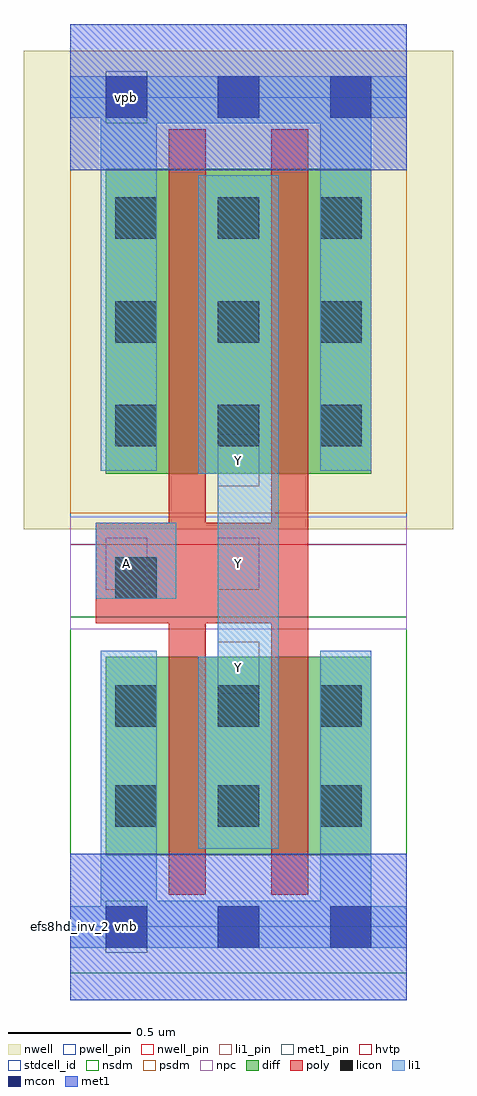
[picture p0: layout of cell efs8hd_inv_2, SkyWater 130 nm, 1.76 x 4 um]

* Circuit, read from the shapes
.subckt efs8hd_inv_2 A Y vgnd vnb vpb vpwr
XM1 Y A vgnd vnb sky130_fd_pr__nfet_01v8 w=0.812 l=0.15 m=2
XM2 Y A vpwr vpb sky130_fd_pr__pfet_01v8_hvt w=1.25 l=0.15 m=2
.ends

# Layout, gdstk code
import gdstk
lib = gdstk.Library(unit=1e-6, precision=1e-09)
def R(c, l, rs):  # rectangles x0, y0, x1, y1
    for r in rs: c.add(gdstk.rectangle(r[:2], r[2:], *l))
def A(c, l, x, y, w, h, nx, ny, dx, dy):  # array of equal rectangles
    R(c, l, [(x+i*dx, y+j*dy, x+i*dx+w, y+j*dy+h) for i in range(nx) for j in range(ny)])
def P(c, l, *ps):  # polygons
    for p in ps: c.add(gdstk.Polygon(p, *l))
nwell_pin = (64, 16)
nwell = (64, 20)
diff = (65, 20)
poly = (66, 20)
licon = (66, 44)
li1_pin = (67, 16)
li1 = (67, 20)
mcon = (67, 44)
met1_pin = (68, 16)
met1 = (68, 20)
hvtp = (78, 44)
stdcell_id = (81, 4)
nsdm = (93, 44)
psdm = (94, 20)
npc = (95, 20)
pwell_pin = (122, 16)

efs8hd_inv_2 = lib.new_cell('efs8hd_inv_2')
R(efs8hd_inv_2, nwell_pin, [(0.145,3.294,0.315,3.506)])
R(efs8hd_inv_2, nwell, [(-0.19,1.63,1.57,3.59)])
R(efs8hd_inv_2, diff, [(0.145,0.294,1.235,1.106), (0.145,1.856,1.235,3.106)])
P(efs8hd_inv_2, poly, [(0.825,3.269),(0.825,1.656),(0.555,1.656),(0.555,3.269),(0.405,3.269),(0.405,1.656),(0.105,1.656),(0.105,1.244),(0.405,1.244),(0.405,0.131),(0.555,0.131),(0.555,1.244),(0.825,1.244),(0.825,0.131),(0.975,0.131),(0.975,3.269)])
A(efs8hd_inv_2, licon, 0.185, 0.411, 0.17, 0.17, 3, 2, 0.42, 0.408)
A(efs8hd_inv_2, licon, 0.185, 1.969, 0.17, 0.17, 3, 3, 0.42, 0.425)
R(efs8hd_inv_2, licon, [(0.185,1.344,0.355,1.514)])
A(efs8hd_inv_2, li1_pin, 0.605, 0.956, 0.17, 0.213, 1, 3, 0, 0.425)
R(efs8hd_inv_2, li1_pin, [(0.145,1.381,0.315,1.594)])
R(efs8hd_inv_2, li1, [(0.105,1.344,0.435,1.656)])
P(efs8hd_inv_2, li1, [(1.025,1.131),(1.025,0.106),(0.355,0.106),(0.355,1.131),(0.125,1.131),(0.125,0.085),(0,0.085),(0,-0.085),(1.38,-0.085),(1.38,0.085),(1.235,0.085),(1.235,1.131)],
  [(0.525,3.081),(0.525,1.856),(0.605,1.856),(0.605,1.106),(0.525,1.106),(0.525,0.319),(0.855,0.319),(0.855,3.081)],
  [(0,3.485),(0,3.315),(0.125,3.315),(0.125,1.869),(0.355,1.869),(0.355,3.294),(1.025,3.294),(1.025,1.869),(1.235,1.869),(1.235,3.315),(1.38,3.315),(1.38,3.485)])
R(efs8hd_inv_2, mcon, [(0.145,-0.085,0.315,0.085), (0.145,-0.085,0.315,0.085), (0.145,-0.085,0.315,0.085), (0.145,-0.085,0.315,0.085), (0.145,-0.085,0.315,0.085), (0.145,-0.085,0.315,0.085), (0.145,-0.085,0.315,0.085), (0.145,-0.085,0.315,0.085), (0.145,-0.085,0.315,0.085), (0.145,-0.085,0.315,0.085), (0.145,-0.085,0.315,0.085), (0.145,-0.085,0.315,0.085), (0.145,-0.085,0.315,0.085), (0.145,-0.085,0.315,0.085), (0.145,-0.085,0.315,0.085), (0.145,-0.085,0.315,0.085), (0.145,-0.085,0.315,0.085), (0.145,-0.085,0.315,0.085), (0.145,-0.085,0.315,0.085), (0.145,-0.085,0.315,0.085), (0.145,-0.085,0.315,0.085), (0.145,-0.085,0.315,0.085), (0.145,-0.085,0.315,0.085), (0.145,-0.085,0.315,0.085), (0.145,-0.085,0.315,0.085), (0.145,-0.085,0.315,0.085), (0.145,-0.085,0.315,0.085), (0.145,-0.085,0.315,0.085), (0.145,-0.085,0.315,0.085), (0.145,-0.085,0.315,0.085), (0.145,-0.085,0.315,0.085), (0.145,-0.085,0.315,0.085), (0.145,-0.085,0.315,0.085), (0.145,-0.085,0.315,0.085), (0.145,-0.085,0.315,0.085), (0.145,-0.085,0.315,0.085), (0.145,-0.085,0.315,0.085), (0.145,-0.085,0.315,0.085), (0.145,-0.085,0.315,0.085), (0.145,-0.085,0.315,0.085), (0.145,-0.085,0.315,0.085), (0.145,-0.085,0.315,0.085), (0.145,-0.085,0.315,0.085), (0.145,-0.085,0.315,0.085), (0.145,-0.085,0.315,0.085), (0.145,-0.085,0.315,0.085), (0.145,-0.085,0.315,0.085), (0.145,-0.085,0.315,0.085), (0.145,-0.085,0.315,0.085), (0.145,-0.085,0.315,0.085), (0.145,-0.085,0.315,0.085), (0.145,-0.085,0.315,0.085), (0.145,-0.085,0.315,0.085), (0.145,-0.085,0.315,0.085), (0.145,-0.085,0.315,0.085), (0.145,-0.085,0.315,0.085), (0.145,-0.085,0.315,0.085), (0.145,-0.085,0.315,0.085), (0.145,-0.085,0.315,0.085), (0.145,-0.085,0.315,0.085), (0.145,-0.085,0.315,0.085), (0.145,-0.085,0.315,0.085), (0.145,-0.085,0.315,0.085), (0.145,-0.085,0.315,0.085), (0.145,-0.085,0.315,0.085), (0.145,-0.085,0.315,0.085), (0.145,-0.085,0.315,0.085), (0.145,-0.085,0.315,0.085), (0.145,-0.085,0.315,0.085), (0.145,-0.085,0.315,0.085), (0.145,-0.085,0.315,0.085), (0.145,-0.085,0.315,0.085), (0.145,-0.085,0.315,0.085), (0.145,-0.085,0.315,0.085), (0.145,-0.085,0.315,0.085), (0.145,-0.085,0.315,0.085), (0.145,-0.085,0.315,0.085), (0.145,-0.085,0.315,0.085), (0.145,-0.085,0.315,0.085), (0.145,-0.085,0.315,0.085), (0.145,-0.085,0.315,0.085), (0.145,-0.085,0.315,0.085), (0.145,-0.085,0.315,0.085), (0.145,-0.085,0.315,0.085), (0.145,-0.085,0.315,0.085), (0.145,-0.085,0.315,0.085), (0.145,-0.085,0.315,0.085), (0.145,-0.085,0.315,0.085), (0.145,-0.085,0.315,0.085), (0.145,-0.085,0.315,0.085), (0.145,-0.085,0.315,0.085), (0.145,-0.085,0.315,0.085), (0.145,-0.085,0.315,0.085), (0.145,-0.085,0.315,0.085), (0.145,-0.085,0.315,0.085), (0.145,-0.085,0.315,0.085), (0.145,-0.085,0.315,0.085), (0.145,-0.085,0.315,0.085), (0.145,-0.085,0.315,0.085), (0.145,-0.085,0.315,0.085), (0.145,-0.085,0.315,0.085), (0.145,-0.085,0.315,0.085), (0.145,-0.085,0.315,0.085), (0.145,-0.085,0.315,0.085), (0.145,-0.085,0.315,0.085), (0.145,-0.085,0.315,0.085), (0.145,-0.085,0.315,0.085), (0.145,-0.085,0.315,0.085), (0.145,-0.085,0.315,0.085), (0.605,-0.085,0.775,0.085), (0.605,-0.085,0.775,0.085), (0.605,-0.085,0.775,0.085), (0.605,-0.085,0.775,0.085), (0.605,-0.085,0.775,0.085), (0.605,-0.085,0.775,0.085), (0.605,-0.085,0.775,0.085), (0.605,-0.085,0.775,0.085), (0.605,-0.085,0.775,0.085), (0.605,-0.085,0.775,0.085), (0.605,-0.085,0.775,0.085), (0.605,-0.085,0.775,0.085), (0.605,-0.085,0.775,0.085), (0.605,-0.085,0.775,0.085), (0.605,-0.085,0.775,0.085), (0.605,-0.085,0.775,0.085), (0.605,-0.085,0.775,0.085), (0.605,-0.085,0.775,0.085), (0.605,-0.085,0.775,0.085), (0.605,-0.085,0.775,0.085), (0.605,-0.085,0.775,0.085), (0.605,-0.085,0.775,0.085), (0.605,-0.085,0.775,0.085), (0.605,-0.085,0.775,0.085), (0.605,-0.085,0.775,0.085), (0.605,-0.085,0.775,0.085), (0.605,-0.085,0.775,0.085), (0.605,-0.085,0.775,0.085), (0.605,-0.085,0.775,0.085), (0.605,-0.085,0.775,0.085), (0.605,-0.085,0.775,0.085), (0.605,-0.085,0.775,0.085), (0.605,-0.085,0.775,0.085), (0.605,-0.085,0.775,0.085), (0.605,-0.085,0.775,0.085), (0.605,-0.085,0.775,0.085), (0.605,-0.085,0.775,0.085), (0.605,-0.085,0.775,0.085), (0.605,-0.085,0.775,0.085), (0.605,-0.085,0.775,0.085), (0.605,-0.085,0.775,0.085), (0.605,-0.085,0.775,0.085), (0.605,-0.085,0.775,0.085), (0.605,-0.085,0.775,0.085), (0.605,-0.085,0.775,0.085), (0.605,-0.085,0.775,0.085), (0.605,-0.085,0.775,0.085), (0.605,-0.085,0.775,0.085), (0.605,-0.085,0.775,0.085), (0.605,-0.085,0.775,0.085), (0.605,-0.085,0.775,0.085), (0.605,-0.085,0.775,0.085), (0.605,-0.085,0.775,0.085), (0.605,-0.085,0.775,0.085), (0.605,-0.085,0.775,0.085), (0.605,-0.085,0.775,0.085), (0.605,-0.085,0.775,0.085), (0.605,-0.085,0.775,0.085), (0.605,-0.085,0.775,0.085), (0.605,-0.085,0.775,0.085), (0.605,-0.085,0.775,0.085), (0.605,-0.085,0.775,0.085), (0.605,-0.085,0.775,0.085), (0.605,-0.085,0.775,0.085), (0.605,-0.085,0.775,0.085), (0.605,-0.085,0.775,0.085), (0.605,-0.085,0.775,0.085), (0.605,-0.085,0.775,0.085), (0.605,-0.085,0.775,0.085), (0.605,-0.085,0.775,0.085), (0.605,-0.085,0.775,0.085), (0.605,-0.085,0.775,0.085), (0.605,-0.085,0.775,0.085), (0.605,-0.085,0.775,0.085), (0.605,-0.085,0.775,0.085), (0.605,-0.085,0.775,0.085), (0.605,-0.085,0.775,0.085), (0.605,-0.085,0.775,0.085), (0.605,-0.085,0.775,0.085), (0.605,-0.085,0.775,0.085), (0.605,-0.085,0.775,0.085), (0.605,-0.085,0.775,0.085), (0.605,-0.085,0.775,0.085), (0.605,-0.085,0.775,0.085), (0.605,-0.085,0.775,0.085), (0.605,-0.085,0.775,0.085), (0.605,-0.085,0.775,0.085), (0.605,-0.085,0.775,0.085), (0.605,-0.085,0.775,0.085), (0.605,-0.085,0.775,0.085), (0.605,-0.085,0.775,0.085), (0.605,-0.085,0.775,0.085), (0.605,-0.085,0.775,0.085), (0.605,-0.085,0.775,0.085), (0.605,-0.085,0.775,0.085), (0.605,-0.085,0.775,0.085), (0.605,-0.085,0.775,0.085), (0.605,-0.085,0.775,0.085), (0.605,-0.085,0.775,0.085), (0.605,-0.085,0.775,0.085), (0.605,-0.085,0.775,0.085), (0.605,-0.085,0.775,0.085), (0.605,-0.085,0.775,0.085), (0.605,-0.085,0.775,0.085), (0.605,-0.085,0.775,0.085), (0.605,-0.085,0.775,0.085), (0.605,-0.085,0.775,0.085), (0.605,-0.085,0.775,0.085), (0.605,-0.085,0.775,0.085), (1.065,-0.085,1.235,0.085), (1.065,-0.085,1.235,0.085), (1.065,-0.085,1.235,0.085), (1.065,-0.085,1.235,0.085), (1.065,-0.085,1.235,0.085), (1.065,-0.085,1.235,0.085), (1.065,-0.085,1.235,0.085), (1.065,-0.085,1.235,0.085), (1.065,-0.085,1.235,0.085), (1.065,-0.085,1.235,0.085), (1.065,-0.085,1.235,0.085), (1.065,-0.085,1.235,0.085), (1.065,-0.085,1.235,0.085), (1.065,-0.085,1.235,0.085), (1.065,-0.085,1.235,0.085), (1.065,-0.085,1.235,0.085), (1.065,-0.085,1.235,0.085), (1.065,-0.085,1.235,0.085), (1.065,-0.085,1.235,0.085), (1.065,-0.085,1.235,0.085), (1.065,-0.085,1.235,0.085), (1.065,-0.085,1.235,0.085), (1.065,-0.085,1.235,0.085), (1.065,-0.085,1.235,0.085), (1.065,-0.085,1.235,0.085), (1.065,-0.085,1.235,0.085), (1.065,-0.085,1.235,0.085), (1.065,-0.085,1.235,0.085), (1.065,-0.085,1.235,0.085), (1.065,-0.085,1.235,0.085), (1.065,-0.085,1.235,0.085), (1.065,-0.085,1.235,0.085), (1.065,-0.085,1.235,0.085), (1.065,-0.085,1.235,0.085), (1.065,-0.085,1.235,0.085), (1.065,-0.085,1.235,0.085), (1.065,-0.085,1.235,0.085), (1.065,-0.085,1.235,0.085), (1.065,-0.085,1.235,0.085), (1.065,-0.085,1.235,0.085), (1.065,-0.085,1.235,0.085), (1.065,-0.085,1.235,0.085), (1.065,-0.085,1.235,0.085), (1.065,-0.085,1.235,0.085), (1.065,-0.085,1.235,0.085), (1.065,-0.085,1.235,0.085), (1.065,-0.085,1.235,0.085), (1.065,-0.085,1.235,0.085), (1.065,-0.085,1.235,0.085), (1.065,-0.085,1.235,0.085), (1.065,-0.085,1.235,0.085), (1.065,-0.085,1.235,0.085), (1.065,-0.085,1.235,0.085), (1.065,-0.085,1.235,0.085), (1.065,-0.085,1.235,0.085), (1.065,-0.085,1.235,0.085), (1.065,-0.085,1.235,0.085), (1.065,-0.085,1.235,0.085), (1.065,-0.085,1.235,0.085), (1.065,-0.085,1.235,0.085), (1.065,-0.085,1.235,0.085), (1.065,-0.085,1.235,0.085), (1.065,-0.085,1.235,0.085), (1.065,-0.085,1.235,0.085), (1.065,-0.085,1.235,0.085), (1.065,-0.085,1.235,0.085), (1.065,-0.085,1.235,0.085), (1.065,-0.085,1.235,0.085), (1.065,-0.085,1.235,0.085), (1.065,-0.085,1.235,0.085), (1.065,-0.085,1.235,0.085), (1.065,-0.085,1.235,0.085), (1.065,-0.085,1.235,0.085), (1.065,-0.085,1.235,0.085), (1.065,-0.085,1.235,0.085), (1.065,-0.085,1.235,0.085), (1.065,-0.085,1.235,0.085), (1.065,-0.085,1.235,0.085), (1.065,-0.085,1.235,0.085), (1.065,-0.085,1.235,0.085), (1.065,-0.085,1.235,0.085), (1.065,-0.085,1.235,0.085), (1.065,-0.085,1.235,0.085), (1.065,-0.085,1.235,0.085), (1.065,-0.085,1.235,0.085), (1.065,-0.085,1.235,0.085), (1.065,-0.085,1.235,0.085), (1.065,-0.085,1.235,0.085), (1.065,-0.085,1.235,0.085), (1.065,-0.085,1.235,0.085), (1.065,-0.085,1.235,0.085), (1.065,-0.085,1.235,0.085), (1.065,-0.085,1.235,0.085), (1.065,-0.085,1.235,0.085), (1.065,-0.085,1.235,0.085), (1.065,-0.085,1.235,0.085), (1.065,-0.085,1.235,0.085), (1.065,-0.085,1.235,0.085), (1.065,-0.085,1.235,0.085), (1.065,-0.085,1.235,0.085), (1.065,-0.085,1.235,0.085), (1.065,-0.085,1.235,0.085), (1.065,-0.085,1.235,0.085), (1.065,-0.085,1.235,0.085), (1.065,-0.085,1.235,0.085), (1.065,-0.085,1.235,0.085), (1.065,-0.085,1.235,0.085), (1.065,-0.085,1.235,0.085), (1.065,-0.085,1.235,0.085), (0.145,3.315,0.315,3.485), (0.145,3.315,0.315,3.485), (0.145,3.315,0.315,3.485), (0.145,3.315,0.315,3.485), (0.145,3.315,0.315,3.485), (0.145,3.315,0.315,3.485), (0.145,3.315,0.315,3.485), (0.145,3.315,0.315,3.485), (0.145,3.315,0.315,3.485), (0.145,3.315,0.315,3.485), (0.145,3.315,0.315,3.485), (0.145,3.315,0.315,3.485), (0.145,3.315,0.315,3.485), (0.145,3.315,0.315,3.485), (0.145,3.315,0.315,3.485), (0.145,3.315,0.315,3.485), (0.145,3.315,0.315,3.485), (0.145,3.315,0.315,3.485), (0.145,3.315,0.315,3.485), (0.145,3.315,0.315,3.485), (0.145,3.315,0.315,3.485), (0.145,3.315,0.315,3.485), (0.145,3.315,0.315,3.485), (0.145,3.315,0.315,3.485), (0.145,3.315,0.315,3.485), (0.145,3.315,0.315,3.485), (0.145,3.315,0.315,3.485), (0.145,3.315,0.315,3.485), (0.145,3.315,0.315,3.485), (0.145,3.315,0.315,3.485), (0.145,3.315,0.315,3.485), (0.145,3.315,0.315,3.485), (0.145,3.315,0.315,3.485), (0.145,3.315,0.315,3.485), (0.145,3.315,0.315,3.485), (0.145,3.315,0.315,3.485), (0.145,3.315,0.315,3.485), (0.145,3.315,0.315,3.485), (0.145,3.315,0.315,3.485), (0.145,3.315,0.315,3.485), (0.145,3.315,0.315,3.485), (0.145,3.315,0.315,3.485), (0.145,3.315,0.315,3.485), (0.145,3.315,0.315,3.485), (0.145,3.315,0.315,3.485), (0.145,3.315,0.315,3.485), (0.145,3.315,0.315,3.485), (0.145,3.315,0.315,3.485), (0.145,3.315,0.315,3.485), (0.145,3.315,0.315,3.485), (0.145,3.315,0.315,3.485), (0.145,3.315,0.315,3.485), (0.145,3.315,0.315,3.485), (0.145,3.315,0.315,3.485), (0.145,3.315,0.315,3.485), (0.145,3.315,0.315,3.485), (0.145,3.315,0.315,3.485), (0.145,3.315,0.315,3.485), (0.145,3.315,0.315,3.485), (0.145,3.315,0.315,3.485), (0.145,3.315,0.315,3.485), (0.145,3.315,0.315,3.485), (0.145,3.315,0.315,3.485), (0.145,3.315,0.315,3.485), (0.145,3.315,0.315,3.485), (0.145,3.315,0.315,3.485), (0.145,3.315,0.315,3.485), (0.145,3.315,0.315,3.485), (0.145,3.315,0.315,3.485), (0.145,3.315,0.315,3.485), (0.145,3.315,0.315,3.485), (0.145,3.315,0.315,3.485), (0.145,3.315,0.315,3.485), (0.145,3.315,0.315,3.485), (0.145,3.315,0.315,3.485), (0.145,3.315,0.315,3.485), (0.145,3.315,0.315,3.485), (0.145,3.315,0.315,3.485), (0.145,3.315,0.315,3.485), (0.145,3.315,0.315,3.485), (0.145,3.315,0.315,3.485), (0.145,3.315,0.315,3.485), (0.145,3.315,0.315,3.485), (0.145,3.315,0.315,3.485), (0.145,3.315,0.315,3.485), (0.145,3.315,0.315,3.485), (0.145,3.315,0.315,3.485), (0.145,3.315,0.315,3.485), (0.145,3.315,0.315,3.485), (0.145,3.315,0.315,3.485), (0.145,3.315,0.315,3.485), (0.145,3.315,0.315,3.485), (0.145,3.315,0.315,3.485), (0.145,3.315,0.315,3.485), (0.145,3.315,0.315,3.485), (0.145,3.315,0.315,3.485), (0.145,3.315,0.315,3.485), (0.145,3.315,0.315,3.485), (0.145,3.315,0.315,3.485), (0.145,3.315,0.315,3.485), (0.145,3.315,0.315,3.485), (0.145,3.315,0.315,3.485), (0.145,3.315,0.315,3.485), (0.145,3.315,0.315,3.485), (0.145,3.315,0.315,3.485), (0.145,3.315,0.315,3.485), (0.145,3.315,0.315,3.485), (0.145,3.315,0.315,3.485), (0.145,3.315,0.315,3.485), (0.605,3.315,0.775,3.485), (0.605,3.315,0.775,3.485), (0.605,3.315,0.775,3.485), (0.605,3.315,0.775,3.485), (0.605,3.315,0.775,3.485), (0.605,3.315,0.775,3.485), (0.605,3.315,0.775,3.485), (0.605,3.315,0.775,3.485), (0.605,3.315,0.775,3.485), (0.605,3.315,0.775,3.485), (0.605,3.315,0.775,3.485), (0.605,3.315,0.775,3.485), (0.605,3.315,0.775,3.485), (0.605,3.315,0.775,3.485), (0.605,3.315,0.775,3.485), (0.605,3.315,0.775,3.485), (0.605,3.315,0.775,3.485), (0.605,3.315,0.775,3.485), (0.605,3.315,0.775,3.485), (0.605,3.315,0.775,3.485), (0.605,3.315,0.775,3.485), (0.605,3.315,0.775,3.485), (0.605,3.315,0.775,3.485), (0.605,3.315,0.775,3.485), (0.605,3.315,0.775,3.485), (0.605,3.315,0.775,3.485), (0.605,3.315,0.775,3.485), (0.605,3.315,0.775,3.485), (0.605,3.315,0.775,3.485), (0.605,3.315,0.775,3.485), (0.605,3.315,0.775,3.485), (0.605,3.315,0.775,3.485), (0.605,3.315,0.775,3.485), (0.605,3.315,0.775,3.485), (0.605,3.315,0.775,3.485), (0.605,3.315,0.775,3.485), (0.605,3.315,0.775,3.485), (0.605,3.315,0.775,3.485), (0.605,3.315,0.775,3.485), (0.605,3.315,0.775,3.485), (0.605,3.315,0.775,3.485), (0.605,3.315,0.775,3.485), (0.605,3.315,0.775,3.485), (0.605,3.315,0.775,3.485), (0.605,3.315,0.775,3.485), (0.605,3.315,0.775,3.485), (0.605,3.315,0.775,3.485), (0.605,3.315,0.775,3.485), (0.605,3.315,0.775,3.485), (0.605,3.315,0.775,3.485), (0.605,3.315,0.775,3.485), (0.605,3.315,0.775,3.485), (0.605,3.315,0.775,3.485), (0.605,3.315,0.775,3.485), (0.605,3.315,0.775,3.485), (0.605,3.315,0.775,3.485), (0.605,3.315,0.775,3.485), (0.605,3.315,0.775,3.485), (0.605,3.315,0.775,3.485), (0.605,3.315,0.775,3.485), (0.605,3.315,0.775,3.485), (0.605,3.315,0.775,3.485), (0.605,3.315,0.775,3.485), (0.605,3.315,0.775,3.485), (0.605,3.315,0.775,3.485), (0.605,3.315,0.775,3.485), (0.605,3.315,0.775,3.485), (0.605,3.315,0.775,3.485), (0.605,3.315,0.775,3.485), (0.605,3.315,0.775,3.485), (0.605,3.315,0.775,3.485), (0.605,3.315,0.775,3.485), (0.605,3.315,0.775,3.485), (0.605,3.315,0.775,3.485), (0.605,3.315,0.775,3.485), (0.605,3.315,0.775,3.485), (0.605,3.315,0.775,3.485), (0.605,3.315,0.775,3.485), (0.605,3.315,0.775,3.485), (0.605,3.315,0.775,3.485), (0.605,3.315,0.775,3.485), (0.605,3.315,0.775,3.485), (0.605,3.315,0.775,3.485), (0.605,3.315,0.775,3.485), (0.605,3.315,0.775,3.485), (0.605,3.315,0.775,3.485), (0.605,3.315,0.775,3.485), (0.605,3.315,0.775,3.485), (0.605,3.315,0.775,3.485), (0.605,3.315,0.775,3.485), (0.605,3.315,0.775,3.485), (0.605,3.315,0.775,3.485), (0.605,3.315,0.775,3.485), (0.605,3.315,0.775,3.485), (0.605,3.315,0.775,3.485), (0.605,3.315,0.775,3.485), (0.605,3.315,0.775,3.485), (0.605,3.315,0.775,3.485), (0.605,3.315,0.775,3.485), (0.605,3.315,0.775,3.485), (0.605,3.315,0.775,3.485), (0.605,3.315,0.775,3.485), (0.605,3.315,0.775,3.485), (0.605,3.315,0.775,3.485), (0.605,3.315,0.775,3.485), (0.605,3.315,0.775,3.485), (0.605,3.315,0.775,3.485), (0.605,3.315,0.775,3.485), (0.605,3.315,0.775,3.485), (1.065,3.315,1.235,3.485), (1.065,3.315,1.235,3.485), (1.065,3.315,1.235,3.485), (1.065,3.315,1.235,3.485), (1.065,3.315,1.235,3.485), (1.065,3.315,1.235,3.485), (1.065,3.315,1.235,3.485), (1.065,3.315,1.235,3.485), (1.065,3.315,1.235,3.485), (1.065,3.315,1.235,3.485), (1.065,3.315,1.235,3.485), (1.065,3.315,1.235,3.485), (1.065,3.315,1.235,3.485), (1.065,3.315,1.235,3.485), (1.065,3.315,1.235,3.485), (1.065,3.315,1.235,3.485), (1.065,3.315,1.235,3.485), (1.065,3.315,1.235,3.485), (1.065,3.315,1.235,3.485), (1.065,3.315,1.235,3.485), (1.065,3.315,1.235,3.485), (1.065,3.315,1.235,3.485), (1.065,3.315,1.235,3.485), (1.065,3.315,1.235,3.485), (1.065,3.315,1.235,3.485), (1.065,3.315,1.235,3.485), (1.065,3.315,1.235,3.485), (1.065,3.315,1.235,3.485), (1.065,3.315,1.235,3.485), (1.065,3.315,1.235,3.485), (1.065,3.315,1.235,3.485), (1.065,3.315,1.235,3.485), (1.065,3.315,1.235,3.485), (1.065,3.315,1.235,3.485), (1.065,3.315,1.235,3.485), (1.065,3.315,1.235,3.485), (1.065,3.315,1.235,3.485), (1.065,3.315,1.235,3.485), (1.065,3.315,1.235,3.485), (1.065,3.315,1.235,3.485), (1.065,3.315,1.235,3.485), (1.065,3.315,1.235,3.485), (1.065,3.315,1.235,3.485), (1.065,3.315,1.235,3.485), (1.065,3.315,1.235,3.485), (1.065,3.315,1.235,3.485), (1.065,3.315,1.235,3.485), (1.065,3.315,1.235,3.485), (1.065,3.315,1.235,3.485), (1.065,3.315,1.235,3.485), (1.065,3.315,1.235,3.485), (1.065,3.315,1.235,3.485), (1.065,3.315,1.235,3.485), (1.065,3.315,1.235,3.485), (1.065,3.315,1.235,3.485), (1.065,3.315,1.235,3.485), (1.065,3.315,1.235,3.485), (1.065,3.315,1.235,3.485), (1.065,3.315,1.235,3.485), (1.065,3.315,1.235,3.485), (1.065,3.315,1.235,3.485), (1.065,3.315,1.235,3.485), (1.065,3.315,1.235,3.485), (1.065,3.315,1.235,3.485), (1.065,3.315,1.235,3.485), (1.065,3.315,1.235,3.485), (1.065,3.315,1.235,3.485), (1.065,3.315,1.235,3.485), (1.065,3.315,1.235,3.485), (1.065,3.315,1.235,3.485), (1.065,3.315,1.235,3.485), (1.065,3.315,1.235,3.485), (1.065,3.315,1.235,3.485), (1.065,3.315,1.235,3.485), (1.065,3.315,1.235,3.485), (1.065,3.315,1.235,3.485), (1.065,3.315,1.235,3.485), (1.065,3.315,1.235,3.485), (1.065,3.315,1.235,3.485), (1.065,3.315,1.235,3.485), (1.065,3.315,1.235,3.485), (1.065,3.315,1.235,3.485), (1.065,3.315,1.235,3.485), (1.065,3.315,1.235,3.485), (1.065,3.315,1.235,3.485), (1.065,3.315,1.235,3.485), (1.065,3.315,1.235,3.485), (1.065,3.315,1.235,3.485), (1.065,3.315,1.235,3.485), (1.065,3.315,1.235,3.485), (1.065,3.315,1.235,3.485), (1.065,3.315,1.235,3.485), (1.065,3.315,1.235,3.485), (1.065,3.315,1.235,3.485), (1.065,3.315,1.235,3.485), (1.065,3.315,1.235,3.485), (1.065,3.315,1.235,3.485), (1.065,3.315,1.235,3.485), (1.065,3.315,1.235,3.485), (1.065,3.315,1.235,3.485), (1.065,3.315,1.235,3.485), (1.065,3.315,1.235,3.485), (1.065,3.315,1.235,3.485), (1.065,3.315,1.235,3.485), (1.065,3.315,1.235,3.485), (1.065,3.315,1.235,3.485), (1.065,3.315,1.235,3.485), (1.065,3.315,1.235,3.485), (1.065,3.315,1.235,3.485)])
R(efs8hd_inv_2, met1_pin, [(0.145,-0.106,0.315,0.106), (0.145,3.294,0.315,3.506)])
R(efs8hd_inv_2, met1, [(0,-0.3,1.38,0.3), (0,3.1,1.38,3.7)])
R(efs8hd_inv_2, hvtp, [(0,1.565,1.38,3.4)])
R(efs8hd_inv_2, stdcell_id, [(0,0,1.38,3.4)])
R(efs8hd_inv_2, nsdm, [(0,-0.19,1.38,1.27)])
R(efs8hd_inv_2, psdm, [(0,1.695,1.38,3.59)])
R(efs8hd_inv_2, npc, [(0,1.22,1.38,1.68)])
R(efs8hd_inv_2, pwell_pin, [(0.145,-0.106,0.315,0.106)])
efs8hd_inv_2.add(gdstk.Label('vnb', (0.23,0), layer=64, texttype=59))
efs8hd_inv_2.add(gdstk.Label('efs8hd_inv_2', (0,0), layer=83, texttype=44))
efs8hd_inv_2.add(gdstk.Label('vpb', (0.23,3.4), layer=64, texttype=5))
efs8hd_inv_2.add(gdstk.Label('Y', (0.69,1.063), layer=67, texttype=5))
efs8hd_inv_2.add(gdstk.Label('A', (0.23,1.488), layer=67, texttype=5))
efs8hd_inv_2.add(gdstk.Label('Y', (0.69,1.488), layer=67, texttype=5))
efs8hd_inv_2.add(gdstk.Label('Y', (0.69,1.913), layer=67, texttype=5))
efs8hd_inv_2.add(gdstk.Label('vgnd', (0.23,0), layer=68, texttype=5))
efs8hd_inv_2.add(gdstk.Label('vpwr', (0.23,3.4), layer=68, texttype=5))

lib.write_gds('efs8hd_inv_2.gds')
